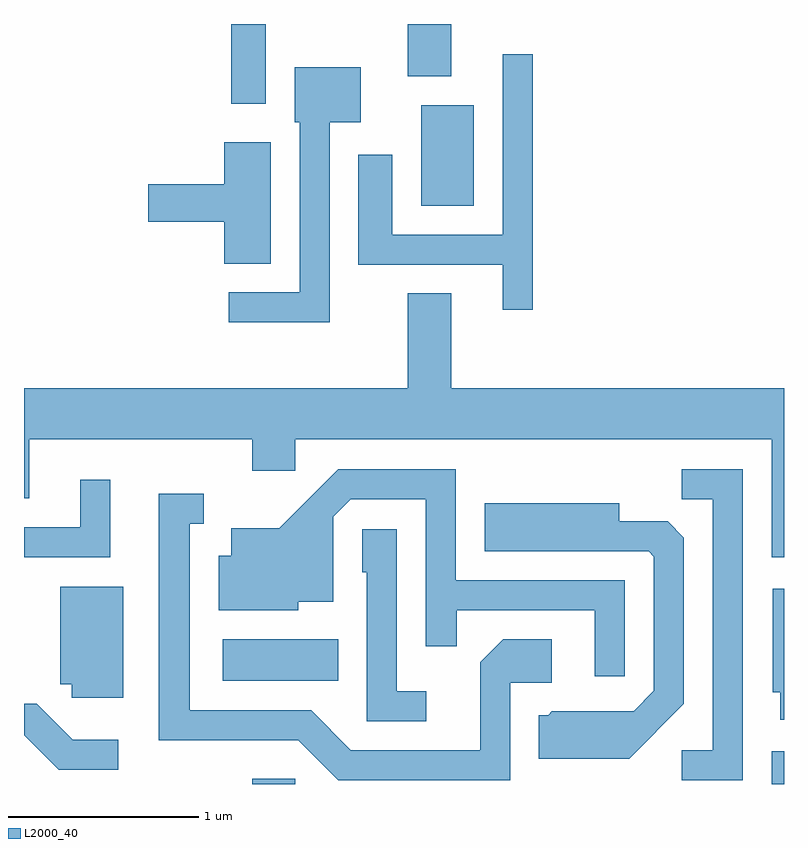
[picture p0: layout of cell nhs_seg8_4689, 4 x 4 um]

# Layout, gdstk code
import gdstk
lib = gdstk.Library(unit=1e-6, precision=1e-09)
def R(c, l, rs):  # rectangles x0, y0, x1, y1
    for r in rs: c.add(gdstk.rectangle(r[:2], r[2:], *l))
def P(c, l, *ps):  # polygons
    for p in ps: c.add(gdstk.Polygon(p, *l))
L2000_40 = (2000, 40)

nhs_seg8_4689 = lib.new_cell('nhs_seg8_4689')
R(nhs_seg8_4689, L2000_40, [(326.811,1872.342,327.039,1872.369), (329.546,1872.342,329.611,1872.514), (326.656,1872.886,327.264,1873.104), (327.701,1875.386,327.979,1875.914), (326.701,1875.921,326.884,1876.342), (327.631,1876.066,327.859,1876.342)])
P(nhs_seg8_4689, L2000_40, [(328.289,1876.183),(328.131,1876.183),(328.131,1875.234),(327.549,1875.234),(327.549,1875.654),(327.371,1875.654),(327.371,1875.076),(328.131,1875.076),(328.131,1874.838),(328.289,1874.838)],
  [(327.219,1875.826),(327.384,1875.826),(327.384,1876.114),(327.036,1876.114),(327.036,1875.826),(327.061,1875.826),(327.061,1874.929),(326.688,1874.929),(326.688,1874.771),(327.219,1874.771)],
  [(326.909,1875.719),(326.666,1875.719),(326.666,1875.499),(326.266,1875.499),(326.266,1875.301),(326.666,1875.301),(326.666,1875.081),(326.909,1875.081)],
  [(329.611,1874.424),(327.859,1874.424),(327.859,1874.924),(327.631,1874.924),(327.631,1874.424),(325.611,1874.424),(325.611,1873.846),(325.639,1873.846),(325.639,1874.156),(326.811,1874.156),(326.811,1873.991),(327.039,1873.991),(327.039,1874.156),(329.546,1874.156),(329.546,1873.536),(329.611,1873.536)],
  [(328.774,1873.414),(327.884,1873.414),(327.884,1873.999),(327.264,1873.999),(326.954,1873.689),(326.701,1873.689),(326.701,1873.544),(326.636,1873.544),(326.636,1873.256),(327.054,1873.256),(327.054,1873.301),(327.239,1873.301),(327.239,1873.749),(327.332,1873.841),(327.726,1873.841),(327.726,1873.068),(327.889,1873.068),(327.889,1873.256),(328.616,1873.256),(328.616,1872.908),(328.774,1872.908)],
  [(329.394,1873.999),(329.073,1873.999),(329.073,1873.841),(329.236,1873.841),(329.236,1872.519),(329.073,1872.519),(329.073,1872.361),(329.394,1872.361)],
  [(326.064,1873.943),(325.906,1873.943),(325.906,1873.694),(325.611,1873.694),(325.611,1873.536),(326.064,1873.536)],
  [(328.169,1872.876),(328.389,1872.876),(328.389,1873.104),(328.134,1873.104),(328.011,1872.982),(328.011,1872.519),(327.332,1872.519),(327.122,1872.729),(326.484,1872.729),(326.484,1873.711),(326.558,1873.711),(326.558,1873.869),(326.321,1873.869),(326.321,1872.571),(327.054,1872.571),(327.264,1872.361),(328.169,1872.361)],
  [(329.084,1872.764),(329.084,1873.639),(328.999,1873.724),(328.744,1873.724),(328.744,1873.819),(328.036,1873.819),(328.036,1873.566),(328.899,1873.566),(328.926,1873.539),(328.926,1872.832),(328.819,1872.724),(328.389,1872.724),(328.369,1872.704),(328.321,1872.704),(328.321,1872.476),(328.797,1872.476)],
  [(327.728,1872.829),(327.574,1872.829),(327.574,1873.684),(327.391,1873.684),(327.391,1873.456),(327.416,1873.456),(327.416,1872.671),(327.728,1872.671)],
  [(326.134,1873.379),(325.801,1873.379),(325.801,1872.866),(325.861,1872.866),(325.861,1872.796),(326.134,1872.796)],
  [(329.611,1873.369),(329.551,1873.369),(329.551,1872.826),(329.591,1872.826),(329.591,1872.681),(329.611,1872.681)],
  [(326.108,1872.574),(325.867,1872.574),(325.677,1872.764),(325.611,1872.764),(325.611,1872.599),(325.794,1872.416),(326.108,1872.416)])

lib.write_gds('nhs_seg8_4689.gds')
